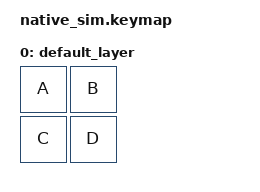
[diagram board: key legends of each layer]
#include <behaviors.dtsi>
#include <behaviors/mouse_move.dtsi>
#include <dt-bindings/zmk/keys.h>
#include <dt-bindings/zmk/input_matrix_mock.h>
#include <dt-bindings/zmk/pointing.h>

/ {
    chosen {
        zmk,matrix-input = &composite_matrix;
    };

    keymap {
        compatible = "zmk,keymap";
        label ="Default keymap";

        default_layer {
            bindings = <
                &kp A &kp B
                &kp C &kp D
            >;
        };
    };

    matrix_right: native_posix_64_input_mock_right {
        compatible = "zmk,input-matrix-mock";

        rows = <1>;
        columns = <2>;
    };

    composite_matrix: composite_matrix {
	    compatible = "zmk,input-composite";
	    rows = <2>;
	    columns = <2>;

	    left {
		    input = <&matrix>;
	    };

	    right {
		    input = <&matrix_right>;
		    row-offset = <1>;
	    };
    };
};

&matrix {
    rows = <1>;
    events = <
        ZMK_MOCK_PRESS(0,0,15)
        ZMK_MOCK_RELEASE(0,0,200)
    >;
};

&matrix_right {
    events = <
        ZMK_MOCK_PRESS(0,0,10)
        ZMK_MOCK_RELEASE(0,0,200)
    >;
};
